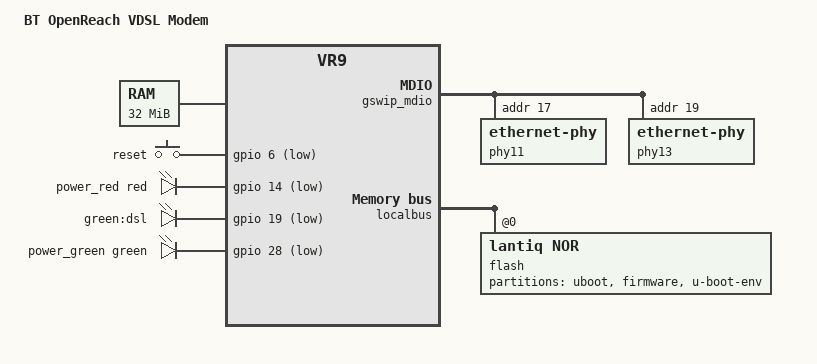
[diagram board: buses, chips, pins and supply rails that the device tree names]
#include "vr9.dtsi"

#include <dt-bindings/input/input.h>
#include <dt-bindings/leds/common.h>
#include <dt-bindings/mips/lantiq_rcu_gphy.h>

/ {
	compatible = "arcadyan,vg3503j", "lantiq,xway", "lantiq,vr9";
	model = "BT OpenReach VDSL Modem";

	chosen {
		bootargs = "console=ttyLTQ0,115200";
	};

	aliases {
		led-boot = &power_green;
		led-failsafe = &power_red;
		led-running = &power_green;
		led-upgrade = &power_green;

		led-dsl = &dsl;
	};

	memory@0 {
		device_type = "memory";
		reg = <0x0 0x2000000>;
	};

	keys {
		compatible = "gpio-keys-polled";
		poll-interval = <100>;
		reset {
			label = "reset";
			gpios = <&gpio 6 GPIO_ACTIVE_LOW>;
			linux,code = <KEY_RESTART>;
		};
	};

	leds {
		compatible = "gpio-leds";

		power_red: power2 {
			function = LED_FUNCTION_POWER;
			color = <LED_COLOR_ID_RED>;
			gpios = <&gpio 14 GPIO_ACTIVE_LOW>;
		};
		dsl: dsl {
			label = "green:dsl";
			gpios = <&gpio 19 GPIO_ACTIVE_LOW>;
		};
		power_green: power {
			function = LED_FUNCTION_POWER;
			color = <LED_COLOR_ID_GREEN>;
			gpios = <&gpio 28 GPIO_ACTIVE_LOW>;
			default-state = "keep";
		};
	};
};

&eth0 {
	nvmem-cells = <&macaddr_uboot_ethaddr 0>;
	nvmem-cell-names = "mac-address";
};

&ppe {
	nvmem-cells = <&macaddr_uboot_ethaddr 1>;
	nvmem-cell-names = "mac-address";
};

&gphy0 {
	lantiq,gphy-mode = <GPHY_MODE_GE>;
};

&gphy1 {
	lantiq,gphy-mode = <GPHY_MODE_GE>;
};

&gswip {
	pinctrl-0 = <&gphy0_led0_pins>, <&gphy0_led1_pins>, <&gphy0_led2_pins>,
		    <&gphy1_led0_pins>, <&gphy1_led1_pins>, <&gphy1_led2_pins>;
	pinctrl-names = "default";
};

&gswip_mdio {
	phy11: ethernet-phy@11 {
		reg = <0x11>;

		leds {
			#address-cells = <1>;
			#size-cells = <0>;

			led@1 {
				reg = <1>;
				color = <LED_COLOR_ID_GREEN>;
				function = LED_FUNCTION_LAN;

			};

			led@2 {
				reg = <2>;
				color = <LED_COLOR_ID_AMBER>;
				function = LED_FUNCTION_LAN;

			};
		};
	};
	phy13: ethernet-phy@13 {
		reg = <0x13>;

		leds {
			#address-cells = <1>;
			#size-cells = <0>;

			led@1 {
				reg = <1>;
				color = <LED_COLOR_ID_GREEN>;
				function = LED_FUNCTION_LAN;

			};

			led@2 {
				reg = <2>;
				color = <LED_COLOR_ID_AMBER>;
				function = LED_FUNCTION_LAN;

			};
		};
	};
};

&gswip_ports {
	port@2 {
		reg = <2>;
		label = "lan2";
		phy-mode = "internal";
		phy-handle = <&phy11>;
	};
	port@4 {
		reg = <4>;
		label = "lan1";
		phy-mode = "internal";
		phy-handle = <&phy13>;
	};
};

&localbus {
	flash@0 {
		compatible = "lantiq,nor";
		bank-width = <2>;
		reg = <0 0x0 0x2000000>;

		partitions {
			compatible = "fixed-partitions";
			#address-cells = <1>;
			#size-cells = <1>;

			partition@0 {
				label = "uboot";
				reg = <0x00000 0x20000>;
			};

			partition@20000 {
				label = "firmware";
				reg = <0x20000 0x7d0000>;
			};

			partition@7f0000 {
				label = "u-boot-env";
				reg = <0x7f0000 0x10000>;

				nvmem-layout {
					compatible = "u-boot,env";

					macaddr_uboot_ethaddr: ethaddr {
						#nvmem-cell-cells = <1>;
					};
				};
			};
		};
	};
};
